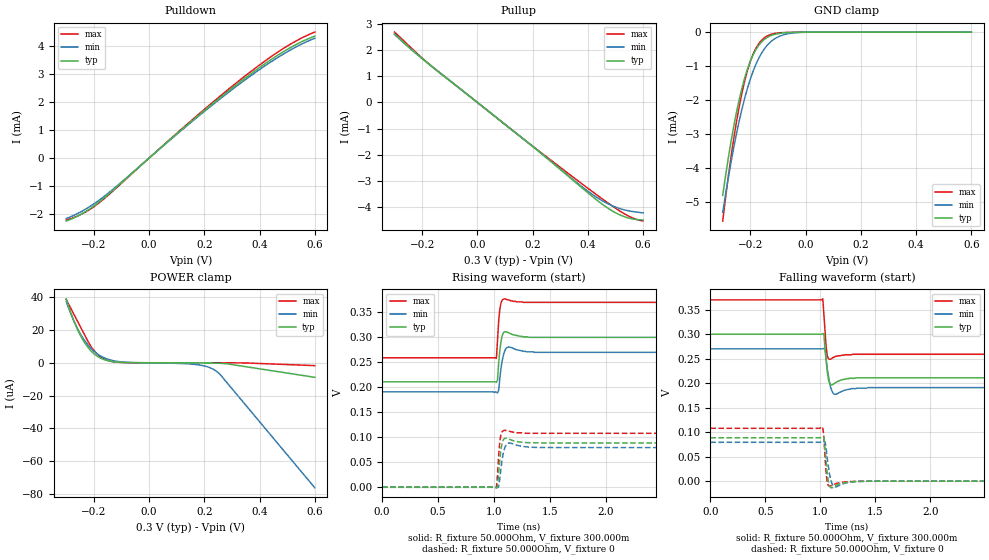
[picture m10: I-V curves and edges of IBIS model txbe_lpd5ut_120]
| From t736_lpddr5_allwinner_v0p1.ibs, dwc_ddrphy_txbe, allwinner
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[Model] txbe_lpd5ut_120
Model_type   I/O
Polarity   Non-Inverting
Enable   Active-High
C_comp   1.465pF   1.447pF   1.47pF
C_comp_pullup   292.671fF   276.014fF   308.304fF
C_comp_pulldown   1.11pF   1.062pF   1.125pF
Vinh = 310.000mV
Vinl = 190.000mV
Vmeas = 250.000mV
Vref = 250.000mV
Rref = 50Ohms
Cref = 0pF
[Model Spec]
Vinh   310.000mV   295.000mV   345.000mV
Vinl   190.000mV   175.000mV   225.000mV
Vmeas   250.000mV   235.000mV   285.000mV
Vref   250.000mV   235.000mV   285.000mV
D_overshoot_ampl_h 0.1 NA   NA
D_overshoot_ampl_l 0.1 NA   NA
D_overshoot_area_l 300.000m NA   NA
D_overshoot_area_h 300.000m NA   NA
[Receiver Thresholds]
Vth = 125.000mV
Vth_min = 118.000mV
Vth_max = 143.000mV
Vinh_ac = 60.000mV
Vinh_dc = 60.000mV
Vinl_ac = -60.000mV
Vinl_dc = -60.000mV
Tslew_ac = 5.000ns
Threshold_sensitivity = 0.5
Reference_supply Pullup_ref
[Temperature Range]   25.000   125.000   -40.000
[Voltage Range]   300.000mV   270.000mV   370.000mV
[GND Clamp Reference]   0.00V   0.00V   0.00V
[C Comp Corner]
| variable   typ   min   max
C_comp   1.465pF   1.447pF   1.47pF
C_comp_pullup   292.671fF   276.014fF   308.304fF
C_comp_pulldown   1.11pF   1.062pF   1.125pF
[Pulldown Reference]   0.00V   0.00V   0.00V
[POWER Clamp Reference]   300.000mV   270.000mV   370.000mV
[Pullup Reference]   300.000mV   270.000mV   370.000mV
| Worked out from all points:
|   slope of the pulldown table from 0 to 0.045 V, typ, clamps not added: 115 ohm
|   slope of the pullup table from 0 to 0.045 V, typ, clamps not added: 120 ohm
|   GND clamp passes 1 mA (typ) near -0.21 V on its own axis
|   rising waveform, R_fixture 50.000Ohm, V_fixture 300.000m: 20-80 % time 21.2ps typ, 27.3ps min, 20.1ps max; typ from 0.211 V to 0.3 V
|   rising waveform, R_fixture 50.000Ohm, V_fixture 0: 20-80 % time 21.9ps typ, 28ps min, 19.9ps max; typ from 0 V to 0.089 V
|   falling waveform, R_fixture 50.000Ohm, V_fixture 300.000m: 20-80 % time 22.4ps typ, 29.1ps min, 20.3ps max; typ from 0.3 V to 0.211 V
|   falling waveform, R_fixture 50.000Ohm, V_fixture 0: 20-80 % time 21.5ps typ, 27.7ps min, 17.8ps max; typ from 0.089 V to 0 V
[GND Clamp]
-300mV    -4.812mA   -5.313mA   -5.568mA
-280mV    -3.723mA   -4.303mA   -4.27mA
-260mV    -2.773mA   -3.397mA   -3.135mA
-250mV    -2.355mA   -2.986mA   -2.634mA
-230mV    -1.636mA   -2.253mA   -1.776mA
-210mV    -1.074mA   -1.641mA   -1.114mA
-190mV    -665.6uA   -1.15mA    -643.3uA
-170mV    -388.7uA   -773.4uA   -340.8uA
-150mV    -215.3uA   -499.1uA   -167.1uA
-100mV    -40.84uA   -138.2uA   -22.34uA
-40mV     -3.47uA    -16.77uA   -1.319uA
600mV     803.1nA    6.382uA    219.4nA
[Power Clamp]
-300mV    39.01uA    37.38uA    38.53uA
-270mV    24.51uA    24.61uA    28.81uA
-230mV    11.35uA    12.74uA    15.86uA
-210mV    7.144uA    8.699uA    9.855uA
-190mV    4.241uA    5.727uA    5.658uA
-140mV    907.9nA    1.683uA    968.8nA
-80mV     102.5nA    262.4nA    71.28nA
160mV     -68.85nA   -928.4nA   -17.64nA
210mV     -125.3nA   -2.412uA   -22.8nA
240mV     -217.7nA   -4.727uA   -26.46nA
260mV     -349.4nA   -7.648uA   -29.76nA
600mV     -8.9uA     -76.37uA   -1.755uA
[Pulldown]
-300mV    -2.239mA   -2.152mA   -2.202mA
-260mV    -2.07mA    -1.977mA   -2.063mA
-230mV    -1.905mA   -1.817mA   -1.917mA
-170mV    -1.477mA   -1.417mA   -1.504mA
-120mV    -1.054mA   -1.022mA   -1.074mA
130mV     1.114mA    1.09mA     1.137mA
250mV     2.093mA    2.049mA    2.143mA
350mV     2.859mA    2.798mA    2.936mA
420mV     3.356mA    3.281mA    3.452mA
490mV     3.801mA    3.719mA    3.918mA
550mV     4.123mA    4.04mA     4.255mA
600mV     4.334mA    4.258mA    4.479mA
[Pullup]
-300mV    2.619mA    2.584mA    2.68mA
-230mV    1.931mA    1.939mA    1.982mA
-150mV    1.239mA    1.249mA    1.248mA
190mV     -1.592mA   -1.587mA   -1.583mA
360mV     -3.087mA   -3.054mA   -2.953mA
410mV     -3.528mA   -3.457mA   -3.347mA
460mV     -3.936mA   -3.791mA   -3.733mA
510mV     -4.255mA   -4.024mA   -4.098mA
560mV     -4.434mA   -4.153mA   -4.391mA
600mV     -4.477mA   -4.209mA   -4.517mA
[Ramp]
R_load=50.000Ohm
dV/dt_r   53.307mV/21.500ps  47.439mV/28.500ps  65.697mV/19.500ps
dV/dt_f   53.307mV/22.500ps  47.439mV/29.000ps  65.697mV/19.500ps
[Rising waveform]
R_fixture=50.000Ohm
V_fixture=300.000m
V_fixture_min=270.000m
V_fixture_max=370.000m
0s        211mV      191mV      259mV
1.023ns   210mV      190mV      258mV
1.033ns   215mV      189mV      294mV
1.043ns   248mV      194mV      332mV
1.053ns   273mV      217mV      356mV
1.073ns   302mV      251mV      374mV
1.093ns   311mV      270mV      377mV
1.133ns   309mV      281mV      375mV
1.363ns   300mV      270mV      370mV
10ns      300mV      270mV      370mV
[Rising waveform]
R_fixture=50.000Ohm
V_fixture=0
0s        38.65uV    338.6uV    8.846uV
1.023ns   -1.154mV   -70.72uV   -805.1uV
1.033ns   1.948mV    -844.8uV   26.18mV
1.043ns   27.73mV    1.761mV    63.43mV
1.053ns   53.91mV    16.71mV    91.55mV
1.073ns   87.68mV    53.42mV    111mV
1.093ns   97.33mV    75.79mV    114mV
1.133ns   96.49mV    88.6mV     112mV
1.474ns   88.69mV    79.54mV    108mV
10ns      88.73mV    79.47mV    108mV
[Falling waveform]
R_fixture=50.000Ohm
V_fixture=300.000m
V_fixture_min=270.000m
V_fixture_max=370.000m
0s        300mV      270mV      370mV
1.023ns   301mV      270mV      372mV
1.033ns   301mV      271mV      341mV
1.043ns   269mV      271mV      307mV
1.053ns   247mV      250mV      275mV
1.063ns   225mV      230mV      257mV
1.083ns   201mV      203mV      249mV
1.133ns   200mV      177mV      254mV
1.434ns   211mV      191mV      259mV
10ns      211mV      191mV      259mV
[Falling waveform]
R_fixture=50.000Ohm
V_fixture=0
0s        88.73mV    79.47mV    108mV
1.023ns   89.66mV    79.64mV    110mV
1.033ns   90.13mV    80.54mV    88.68mV
1.053ns   39.1mV     67.49mV    16.33mV
1.063ns   16.2mV     47.03mV    -2.135mV
1.083ns   -8.675mV   15.56mV    -10.32mV
1.103ns   -13.42mV   -2.776mV   -8.413mV
1.133ns   -9.851mV   -11.54mV   -5.445mV
1.504ns   19.43uV    306.1uV    58.69uV
10ns      39.62uV    338.6uV    11.24uV
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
